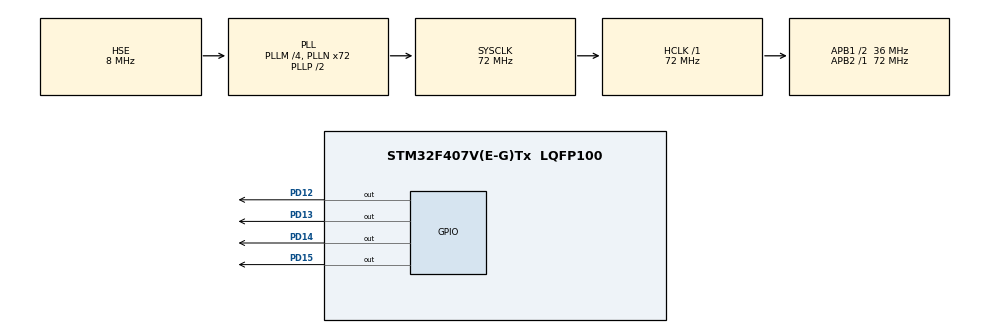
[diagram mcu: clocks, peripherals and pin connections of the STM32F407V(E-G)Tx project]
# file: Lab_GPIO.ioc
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Mcu.Family=STM32F4
Mcu.Name=STM32F407V(E-G)Tx
Mcu.Package=LQFP100
NVIC.PriorityGroup=NVIC_PRIORITYGROUP_4
PD12.GPIO_Speed=GPIO_SPEED_FREQ_VERY_HIGH
PD12.Signal=GPIO_Output
PD13.GPIO_Speed=GPIO_SPEED_FREQ_VERY_HIGH
PD13.Signal=GPIO_Output
PD14.GPIO_Speed=GPIO_SPEED_FREQ_VERY_HIGH
PD14.Signal=GPIO_Output
PD15.GPIO_Speed=GPIO_SPEED_FREQ_VERY_HIGH
PD15.Signal=GPIO_Output
PH0-OSC_IN.Mode=HSE-External-Oscillator
PH0-OSC_IN.Signal=RCC_OSC_IN
PH1-OSC_OUT.Mode=HSE-External-Oscillator
PH1-OSC_OUT.Signal=RCC_OSC_OUT
ProjectManager.HeapSize=0x200
ProjectManager.StackSize=0x400
ProjectManager.TargetToolchain=Makefile
RCC.48MHZClocksFreq_Value=36000000
RCC.AHBFreq_Value=72000000
RCC.APB1CLKDivider=RCC_HCLK_DIV2
RCC.APB1Freq_Value=36000000
RCC.APB1TimFreq_Value=72000000
RCC.APB2Freq_Value=72000000
RCC.APB2TimFreq_Value=72000000
RCC.CortexFreq_Value=72000000
RCC.HCLKFreq_Value=72000000
RCC.HSE_VALUE=8000000
RCC.HSI_VALUE=16000000
RCC.LSE_VALUE=32768
RCC.PLLM=4
RCC.PLLN=72
RCC.PLLSourceVirtual=RCC_PLLSOURCE_HSE
RCC.SYSCLKFreq_VALUE=72000000
RCC.SYSCLKSource=RCC_SYSCLKSOURCE_PLLCLK
RCC.VCOOutputFreq_Value=144000000
board=custom

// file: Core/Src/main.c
/* USER CODE BEGIN Header */
/**
  ******************************************************************************
  * @file           : main.c
  * @brief          : Main program body
  ******************************************************************************
  * @attention
  *
  * Copyright (c) 2024 STMicroelectronics.
  * All rights reserved.
  *
  * This software is licensed under terms that can be found in the LICENSE file
  * in the root directory of this software component.
  * If no LICENSE file comes with this software, it is provided AS-IS.
  *
  ******************************************************************************
  */
/* USER CODE END Header */
#include "main.h"
#include "gpio.h"

void SystemClock_Config(void);

/* USER CODE BEGIN 0 */
int main(void) {
    int i;

    HAL_Init();
    SystemClock_Config();
    MX_GPIO_Init();

    while (1) {
        for (i = 0; i < 1000000; i++);

        gpio_led_state(LED3_ORANGE_ID, 1); // turn on
        gpio_led_state(LED4_GREEN_ID, 1);  // turn on
        gpio_led_state(LED5_RED_ID, 0);    // turn off
        gpio_led_state(LED6_BLUE_ID, 0);   // turn off

        for (i = 0; i < 1000000; i++);

        gpio_led_state(LED3_ORANGE_ID, 0); // turn off
        gpio_led_state(LED4_GREEN_ID, 0);  // turn off
        gpio_led_state(LED5_RED_ID, 1);    // turn on
        gpio_led_state(LED6_BLUE_ID, 1);   // turn on
    }
}
/* USER CODE END 0 */

void SystemClock_Config(void)
{
  RCC_OscInitTypeDef RCC_OscInitStruct = {0};
  RCC_ClkInitTypeDef RCC_ClkInitStruct = {0};

  /** Configure the main internal regulator output voltage
  */
  __HAL_RCC_PWR_CLK_ENABLE();
  __HAL_PWR_VOLTAGESCALING_CONFIG(PWR_REGULATOR_VOLTAGE_SCALE1);

  /** Initializes the RCC Oscillators according to the specified parameters
  * in the RCC_OscInitTypeDef structure.
  */
  RCC_OscInitStruct.OscillatorType = RCC_OSCILLATORTYPE_HSE;
  RCC_OscInitStruct.HSEState = RCC_HSE_ON;
  RCC_OscInitStruct.PLL.PLLState = RCC_PLL_ON;
  RCC_OscInitStruct.PLL.PLLSource = RCC_PLLSOURCE_HSE;
  RCC_OscInitStruct.PLL.PLLM = 4;
  RCC_OscInitStruct.PLL.PLLN = 72;
  RCC_OscInitStruct.PLL.PLLP = RCC_PLLP_DIV2;
  RCC_OscInitStruct.PLL.PLLQ = 4;
  if (HAL_RCC_OscConfig(&RCC_OscInitStruct) != HAL_OK)
  {
    Error_Handler();
  }

  /** Initializes the CPU, AHB and APB buses clocks
  */
  RCC_ClkInitStruct.ClockType = RCC_CLOCKTYPE_HCLK|RCC_CLOCKTYPE_SYSCLK
                              |RCC_CLOCKTYPE_PCLK1|RCC_CLOCKTYPE_PCLK2;
  RCC_ClkInitStruct.SYSCLKSource = RCC_SYSCLKSOURCE_PLLCLK;
  RCC_ClkInitStruct.AHBCLKDivider = RCC_SYSCLK_DIV1;
  RCC_ClkInitStruct.APB1CLKDivider = RCC_HCLK_DIV2;
  RCC_ClkInitStruct.APB2CLKDivider = RCC_HCLK_DIV1;

  if (HAL_RCC_ClockConfig(&RCC_ClkInitStruct, FLASH_LATENCY_2) != HAL_OK)
  {
    Error_Handler();
  }
}

void Error_Handler(void)
{
  __disable_irq();
  while (1)
  {
  }
}
